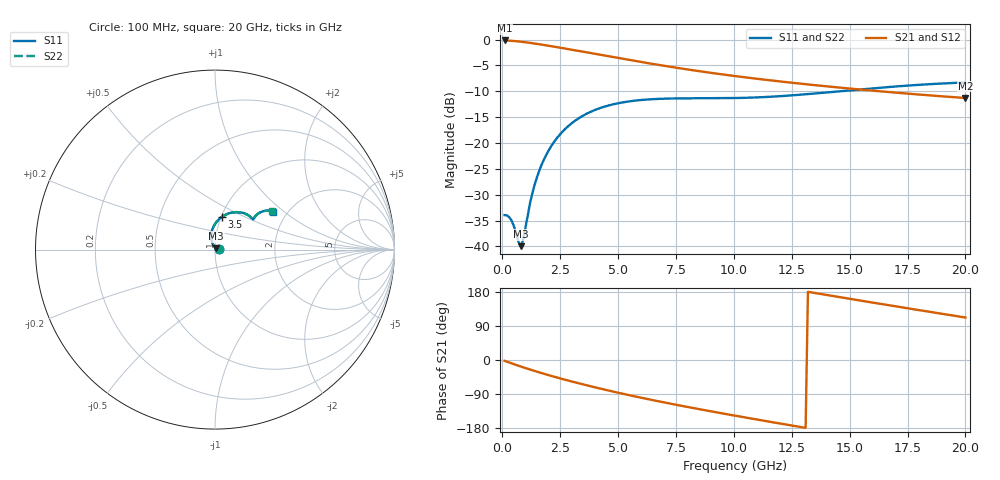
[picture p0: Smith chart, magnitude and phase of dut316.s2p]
! Touchstone file exported from HFSS 2024.1.0
!  File:  C:/UserFiles/LocalFiles/RDL_TSV_Batchsim/temp_RDL_TSV_316_1779628726.aedt
!  Generated:  09:32:37 PM May 24, 2026
!  Design:  RDL_TSV
!  Project:  temp_RDL_TSV_316_1779628726
!  Setup:  Setup1
!  Solution:  Sweep
! Variables:
!  dtsv = 14.03um
!  hbump = 3um
!  htsv = 68.66um
!  ldown = 346.6um
!  lrdl = 639.24um
!  p = 40
!  p1 = 51.11um
!  rhole = 10um
!  subl = 3596.76um
!  t = 450um
!  tdown = 2.98um
!  trdl = 3.05um
!  viad = 10um
!  wdown = 26.94um
!  wrdl = 19.2um
!  xbump = 18um
# GHz S MA R 50.000000
! Terminal data exported
! Port[1] = TM1_1_T1
! Port[2] = TM1_4_T1
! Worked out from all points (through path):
!   200 points, 100 MHz to 20 GHz, reference 50 ohm
!   highest |S21| = -0.18 dB at 100 MHz (marker M1); lowest = -11.3 dB at 20 GHz (marker M2)
!   group delay of S21, straight-line fit = 32.5 ps
!   lowest |S11| = -39.9 dB at 800 MHz (marker M3), VSWR 1.02, Z = 50.6 + j0.83 ohm
!   |S11| at or under -10 dB: start of sweep to 14.58 GHz
!   |S22| runs from -39.9 to -8.3 dB; largest |S21 - S12| = 1e-14
!   S11 on the Smith chart (normalised r, x): 100 MHz: 1.04, +0.00; 3.5 GHz: 1.00, +0.38; 20 GHz: 1.68, +0.84
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0.1  0.02009 2.6  0.9792 -2.2  0.9792 -2.2  0.02009 2.6
! Gamma 0 0 0 0
! Port Impedance 50 0 50 0
0.4  0.0178 7.5  0.9711 -8.8  0.9711 -8.8  0.01781 7.5
0.7  0.01105 31.7  0.9579 -15.1  0.9579 -15.1  0.01107 31.5
0.8  0.01007 54.6  0.9526 -17.2  0.9526 -17.2  0.01007 54.3
0.9  0.0115 79.5  0.947 -19.2  0.947 -19.2  0.01147 79.2
1.1  0.02034 105.3  0.9347 -23.2  0.9347 -23.2  0.02026 105.2
1.3  0.03282 111.5  0.9213 -27.1  0.9213 -27.1  0.0327 111.5
1.5  0.04687 111.6  0.9073 -30.9  0.9073 -30.9  0.04671 111.5
1.8  0.0693 107.9  0.8855 -36.4  0.8855 -36.4  0.06908 107.9
2.1  0.09212 102.8  0.8632 -41.7  0.8632 -41.7  0.09184 102.7
2.5  0.1216 95.4  0.8335 -48.5  0.8335 -48.5  0.1213 95.4
3  0.1554 86.6  0.7971 -56.7  0.7971 -56.7  0.1549 86.6
3.5  0.1844 78.6  0.7616 -64.6  0.7616 -64.6  0.1838 78.6
4.3  0.2204 67.6  0.7075 -76.5  0.7075 -76.5  0.2197 67.6
5.2  0.2468 57.7  0.6514 -89.1  0.6514 -89.1  0.246 57.7
6.8  0.2671 45.8  0.5659 -109.6  0.5659 -109.6  0.2661 45.8
8.4  0.2703 39.9  0.4981 -128.5  0.4981 -128.5  0.2691 39.9
10.1  0.272 38.2  0.4419 -147.4  0.4419 -147.4  0.2708 38.3
11.7  0.2807 38.9  0.4001 -164.5  0.4001 -164.5  0.2796 39.0
13.4  0.2995 39.8  0.3641 177.8  0.3641 177.8  0.2984 39.9
16.7  0.3478 38.2  0.3105 144.4  0.3105 144.4  0.3468 38.3
20  0.3846 33.5  0.2721 112.1  0.2721 112.1  0.3836 33.6
